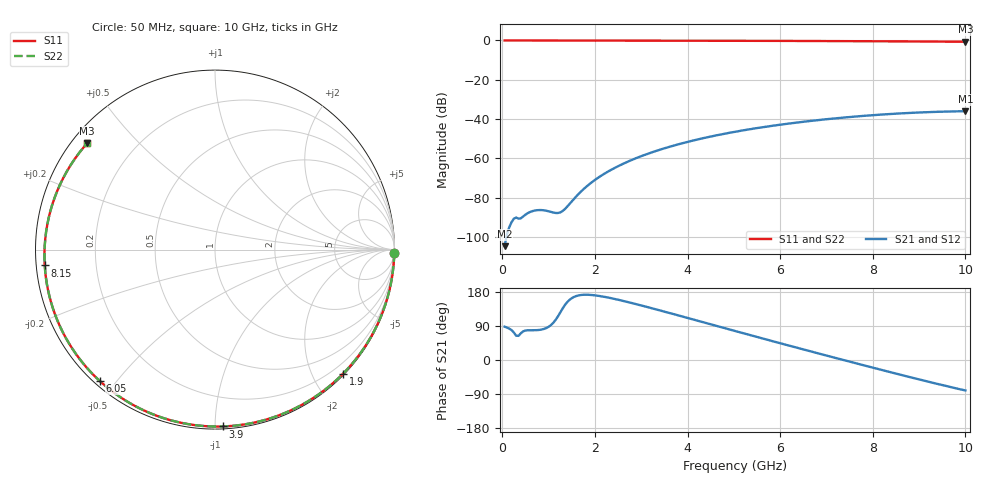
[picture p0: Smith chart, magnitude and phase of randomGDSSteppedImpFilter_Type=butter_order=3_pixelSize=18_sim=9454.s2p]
! freq	dB(S11)	phase(S11)	dB(S12)	phase(S12)
!  dB(S21)	phase(S21)	dB(S22)	phase(S22)
!S-par simulation data
#  GHz  S  DB  R 50
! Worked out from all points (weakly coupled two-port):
!   200 points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, 50 MHz to 10 GHz, reference 50 ohm
!   highest |S21| = -35.98 dB at 10 GHz (marker M1); lowest = -104.6 dB at 50 MHz (marker M2)
!   lowest |S11| = -0.7 dB at 10 GHz (marker M3), VSWR 26.25, Z = 2.15 + j18 ohm
!   |S11| at or under -10 dB: nowhere
!   |S22| runs from -0.7 to 0.0 dB; largest |S21 - S12| = 0
!   S11 on the Smith chart (normalised r, x): 50 MHz: open; 1.9 GHz: 0.02, -2.47; 3.9 GHz: 0.01, -1.04; 6.05 GHz: 0.02, -0.45; 8.15 GHz: 0.02, -0.05; 10 GHz: 0.04, +0.36
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0.05  -0.01 -1.1  -104.62 87.9  -104.62 87.9  -0.01 -1.1
0.8  -0.02 -18.8  -86.25 79.4  -86.25 79.4  -0.02 -18.8
1.55  -0.05 -36.2  -80.51 166.5  -80.51 166.5  -0.05 -36.2
1.6  -0.05 -37.3  -79.22 168.9  -79.22 168.9  -0.05 -37.3
1.75  -0.05 -40.8  -75.71 172.1  -75.71 172.1  -0.05 -40.8
1.9  -0.06 -44.1  -72.72 171.9  -72.72 171.9  -0.06 -44.1
2.2  -0.06 -50.9  -67.83 166.8  -67.83 166.8  -0.06 -50.9
2.55  -0.08 -58.6  -63.37 157.7  -63.37 157.7  -0.08 -58.6
2.95  -0.09 -67.4  -59.30 145.5  -59.30 145.5  -0.09 -67.4
3.4  -0.10 -77.0  -55.58 131.0  -55.58 131.0  -0.10 -77.0
3.9  -0.12 -87.5  -52.19 114.4  -52.19 114.4  -0.12 -87.5
4.45  -0.14 -98.9  -49.12 95.9  -49.12 95.9  -0.14 -98.9
5.05  -0.17 -111.1  -46.34 75.8  -46.34 75.8  -0.17 -111.1
6.05  -0.23 -131.1  -42.69 42.6  -42.69 42.6  -0.23 -131.1
6.7  -0.28 -144.2  -40.82 21.4  -40.82 21.4  -0.28 -144.2
7.45  -0.35 -159.7  -39.05 -2.7  -39.05 -2.7  -0.35 -159.7
8.15  -0.42 -174.7  -37.75 -24.9  -37.75 -24.9  -0.42 -174.7
8.35  -0.44 -179.1  -37.44 -31.2  -37.44 -31.2  -0.44 -179.1
8.8  -0.50 170.5  -36.85 -45.2  -36.85 -45.2  -0.50 170.6
9.2  -0.55 160.9  -36.45 -57.3  -36.45 -57.3  -0.55 161.0
9.6  -0.61 150.9  -36.16 -69.1  -36.16 -69.1  -0.61 150.9
10  -0.66 140.3  -35.98 -80.5  -35.98 -80.5  -0.66 140.3
